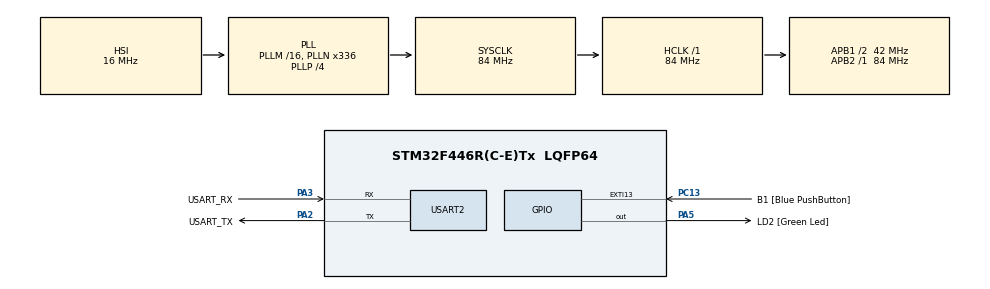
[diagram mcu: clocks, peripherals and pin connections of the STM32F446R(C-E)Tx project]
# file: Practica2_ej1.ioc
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Mcu.Family=STM32F4
Mcu.Name=STM32F446R(C-E)Tx
Mcu.Package=LQFP64
NVIC.PriorityGroup=NVIC_PRIORITYGROUP_0
PA13.GPIO_Label=TMS
PA13.Mode=Serial_Wire
PA13.Signal=SYS_JTMS-SWDIO
PA14.GPIO_Label=TCK
PA14.Mode=Serial_Wire
PA14.Signal=SYS_JTCK-SWCLK
PA2.GPIO_Label=USART_TX
PA2.Mode=Asynchronous
PA2.Signal=USART2_TX
PA3.GPIO_Label=USART_RX
PA3.Mode=Asynchronous
PA3.Signal=USART2_RX
PA5.GPIO_Label=LD2 [Green Led]
PA5.Signal=GPIO_Output
PB3.GPIO_Label=SWO
PB3.Signal=SYS_JTDO-SWO
PC13.GPIO_Label=B1 [Blue PushButton]
PC13.GPIO_ModeDefaultEXTI=GPIO_MODE_IT_FALLING
PC13.Signal=GPXTI13
PC14-OSC32_IN.Mode=LSE-External-Oscillator
PC14-OSC32_IN.Signal=RCC_OSC32_IN
PC15-OSC32_OUT.Mode=LSE-External-Oscillator
PC15-OSC32_OUT.Signal=RCC_OSC32_OUT
PH0-OSC_IN.Mode=HSE-External-Oscillator
PH0-OSC_IN.Signal=RCC_OSC_IN
PH1-OSC_OUT.Mode=HSE-External-Oscillator
PH1-OSC_OUT.Signal=RCC_OSC_OUT
ProjectManager.HeapSize=0x200
ProjectManager.StackSize=0x400
ProjectManager.TargetToolchain=STM32CubeIDE
RCC.48MHZClocksFreq_Value=84000000
RCC.AHBFreq_Value=84000000
RCC.APB1CLKDivider=RCC_HCLK_DIV2
RCC.APB1Freq_Value=42000000
RCC.APB1TimFreq_Value=84000000
RCC.APB2Freq_Value=84000000
RCC.APB2TimFreq_Value=84000000
RCC.CortexFreq_Value=84000000
RCC.FLatency-AdvancedSettings=FLASH_LATENCY_2
RCC.HCLKFreq_Value=84000000
RCC.HSE_VALUE=8000000
RCC.HSI_VALUE=16000000
RCC.PLLN=336
RCC.PLLP=RCC_PLLP_DIV4
RCC.SYSCLKFreq_VALUE=84000000
RCC.SYSCLKSource=RCC_SYSCLKSOURCE_PLLCLK
RCC.USBFreq_Value=168000000
RCC.VCOOutputFreq_Value=336000000
USART2.VirtualMode=VM_ASYNC
board=NUCLEO-F446RE

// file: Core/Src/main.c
/* USER CODE BEGIN Header */
/**
  ******************************************************************************
  * @file           : main.c
  * @brief          : Main program body
  ******************************************************************************
  * @attention
  *
  * Copyright (c) 2025 STMicroelectronics.
  * All rights reserved.
  *
  * This software is licensed under terms that can be found in the LICENSE file
  * in the root directory of this software component.
  * If no LICENSE file comes with this software, it is provided AS-IS.
  *
  ******************************************************************************
  */
/* USER CODE END Header */
#include "main.h"

/* USER CODE BEGIN Includes */
#include "API_delay.h"
/* USER CODE END Includes */

UART_HandleTypeDef huart2;

/* USER CODE BEGIN PV */
extern uint32_t time_array[size];
extern uint16_t counter;
extern uint32_t aux;

/* USER CODE END PV */

void SystemClock_Config(void);
static void MX_GPIO_Init(void);
static void MX_USART2_UART_Init(void);

int main(void)
{

  /* MCU Configuration--------------------------------------------------------*/

  /* Reset of all peripherals, Initializes the Flash interface and the Systick. */
  HAL_Init();

  /* Configure the system clock */
  SystemClock_Config();

  /* Initialize all configured peripherals */
  MX_GPIO_Init();
  MX_USART2_UART_Init();

  /* Infinite loop */
  /* USER CODE BEGIN WHILE */
  delay_t delay;
  uint32_t time_array[]= {500,100,100,1000};
  uint16_t counter= 0;
  uint32_t aux=0;
  delayInit(&delay, time_array[aux]);

  while (1)
  {
	  if(delayRead(&delay)){
		  HAL_GPIO_TogglePin(GPIOA, GPIO_PIN_5);
		  delayInit(&delay, time_array[aux]);
		  counter=counter+1;
	  }
	  if(counter==9){									//Cuando repito el ciclo de apagado y prendido 5
		  counter=0;									//veces, reinicio el ciclo
		  aux= aux+1;
		  delayWrite(&delay, time_array[aux]);
	  }else if (aux==4){								//Reinicio el array si llegué al último dato
		  aux=0;
	  }

    /* USER CODE END WHILE */

  }
}

void SystemClock_Config(void)
{
  RCC_OscInitTypeDef RCC_OscInitStruct = {0};
  RCC_ClkInitTypeDef RCC_ClkInitStruct = {0};

  /** Configure the main internal regulator output voltage
  */
  __HAL_RCC_PWR_CLK_ENABLE();
  __HAL_PWR_VOLTAGESCALING_CONFIG(PWR_REGULATOR_VOLTAGE_SCALE3);

  /** Initializes the RCC Oscillators according to the specified parameters
  * in the RCC_OscInitTypeDef structure.
  */
  RCC_OscInitStruct.OscillatorType = RCC_OSCILLATORTYPE_HSI;
  RCC_OscInitStruct.HSIState = RCC_HSI_ON;
  RCC_OscInitStruct.HSICalibrationValue = RCC_HSICALIBRATION_DEFAULT;
  RCC_OscInitStruct.PLL.PLLState = RCC_PLL_ON;
  RCC_OscInitStruct.PLL.PLLSource = RCC_PLLSOURCE_HSI;
  RCC_OscInitStruct.PLL.PLLM = 16;
  RCC_OscInitStruct.PLL.PLLN = 336;
  RCC_OscInitStruct.PLL.PLLP = RCC_PLLP_DIV4;
  RCC_OscInitStruct.PLL.PLLQ = 2;
  RCC_OscInitStruct.PLL.PLLR = 2;
  if (HAL_RCC_OscConfig(&RCC_OscInitStruct) != HAL_OK)
  {
    Error_Handler();
  }

  /** Initializes the CPU, AHB and APB buses clocks
  */
  RCC_ClkInitStruct.ClockType = RCC_CLOCKTYPE_HCLK|RCC_CLOCKTYPE_SYSCLK
                              |RCC_CLOCKTYPE_PCLK1|RCC_CLOCKTYPE_PCLK2;
  RCC_ClkInitStruct.SYSCLKSource = RCC_SYSCLKSOURCE_PLLCLK;
  RCC_ClkInitStruct.AHBCLKDivider = RCC_SYSCLK_DIV1;
  RCC_ClkInitStruct.APB1CLKDivider = RCC_HCLK_DIV2;
  RCC_ClkInitStruct.APB2CLKDivider = RCC_HCLK_DIV1;

  if (HAL_RCC_ClockConfig(&RCC_ClkInitStruct, FLASH_LATENCY_2) != HAL_OK)
  {
    Error_Handler();
  }
}

static void MX_USART2_UART_Init(void)
{

  huart2.Instance = USART2;
  huart2.Init.BaudRate = 115200;
  huart2.Init.WordLength = UART_WORDLENGTH_8B;
  huart2.Init.StopBits = UART_STOPBITS_1;
  huart2.Init.Parity = UART_PARITY_NONE;
  huart2.Init.Mode = UART_MODE_TX_RX;
  huart2.Init.HwFlowCtl = UART_HWCONTROL_NONE;
  huart2.Init.OverSampling = UART_OVERSAMPLING_16;
  if (HAL_UART_Init(&huart2) != HAL_OK)
  {
    Error_Handler();
  }

}

static void MX_GPIO_Init(void)
{
  GPIO_InitTypeDef GPIO_InitStruct = {0};

  /* GPIO Ports Clock Enable */
  __HAL_RCC_GPIOC_CLK_ENABLE();
  __HAL_RCC_GPIOH_CLK_ENABLE();
  __HAL_RCC_GPIOA_CLK_ENABLE();
  __HAL_RCC_GPIOB_CLK_ENABLE();

  /*Configure GPIO pin Output Level */
  HAL_GPIO_WritePin(LD2_GPIO_Port, LD2_Pin, GPIO_PIN_RESET);

  /*Configure GPIO pin : B1_Pin */
  GPIO_InitStruct.Pin = B1_Pin;
  GPIO_InitStruct.Mode = GPIO_MODE_IT_FALLING;
  GPIO_InitStruct.Pull = GPIO_NOPULL;
  HAL_GPIO_Init(B1_GPIO_Port, &GPIO_InitStruct);

  /*Configure GPIO pin : LD2_Pin */
  GPIO_InitStruct.Pin = LD2_Pin;
  GPIO_InitStruct.Mode = GPIO_MODE_OUTPUT_PP;
  GPIO_InitStruct.Pull = GPIO_NOPULL;
  GPIO_InitStruct.Speed = GPIO_SPEED_FREQ_LOW;
  HAL_GPIO_Init(LD2_GPIO_Port, &GPIO_InitStruct);

}

void Error_Handler(void)
{
  __disable_irq();
  while (1)
  {
  }
}
